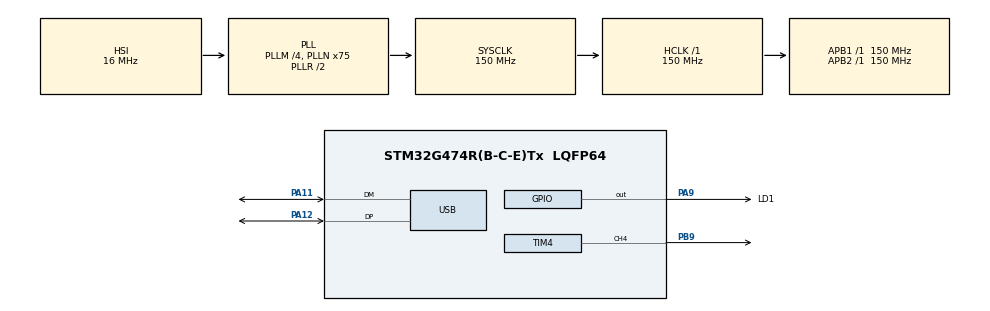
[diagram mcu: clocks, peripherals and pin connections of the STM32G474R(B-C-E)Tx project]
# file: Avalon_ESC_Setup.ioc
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Mcu.Family=STM32G4
Mcu.Name=STM32G474R(B-C-E)Tx
Mcu.Package=LQFP64
NVIC.PriorityGroup=NVIC_PRIORITYGROUP_4
PA11.Mode=Device
PA11.Signal=USB_DM
PA12.Mode=Device
PA12.Signal=USB_DP
PA9.GPIO_Label=LD1
PA9.Signal=GPIO_Output
PB9.Signal=S_TIM4_CH4
ProjectManager.HeapSize=0x200
ProjectManager.StackSize=0x400
ProjectManager.TargetToolchain=STM32CubeIDE
RCC.ADC12Freq_Value=150000000
RCC.ADC345Freq_Value=150000000
RCC.AHBFreq_Value=150000000
RCC.APB1Freq_Value=150000000
RCC.APB1TimFreq_Value=150000000
RCC.APB2Freq_Value=150000000
RCC.APB2TimFreq_Value=150000000
RCC.CK48CLockSelection=RCC_USBCLKSOURCE_HSI48
RCC.CortexFreq_Value=150000000
RCC.EXTERNAL_CLOCK_VALUE=12288000
RCC.HCLKFreq_Value=150000000
RCC.HSE_VALUE=8000000
RCC.HSI48_VALUE=48000000
RCC.HSI_VALUE=16000000
RCC.LSE_VALUE=32768
RCC.PLLM=RCC_PLLM_DIV4
RCC.PLLN=75
RCC.SYSCLKFreq_VALUE=150000000
RCC.SYSCLKSource=RCC_SYSCLKSOURCE_PLLCLK
RCC.USBFreq_Value=48000000
RCC.VCOOutputFreq_Value=300000000
SH.S_TIM4_CH4.0=TIM4_CH4,PWM Generation4 CH4
TIM4.Channel-PWM\ Generation4\ CH4=TIM_CHANNEL_4
TIM4.PeriodNoDither=60000
TIM4.Prescaler=50
TIM4.PulseNoDither_4=6000
board=custom

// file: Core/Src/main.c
/* USER CODE BEGIN Header */
/**
  ******************************************************************************
  * @file           : main.c
  * @brief          : Main program body
  ******************************************************************************
  * @attention
  *
  * Copyright (c) 2023 STMicroelectronics.
  * All rights reserved.
  *
  * This software is licensed under terms that can be found in the LICENSE file
  * in the root directory of this software component.
  * If no LICENSE file comes with this software, it is provided AS-IS.
  *
  ******************************************************************************
  */
/* USER CODE END Header */
#include "main.h"

TIM_HandleTypeDef htim4;

PCD_HandleTypeDef hpcd_USB_FS;

void SystemClock_Config(void);
static void MX_GPIO_Init(void);
static void MX_TIM4_Init(void);
static void MX_USB_PCD_Init(void);

int main(void)
{

  /* MCU Configuration--------------------------------------------------------*/

  /* Reset of all peripherals, Initializes the Flash interface and the Systick. */
  HAL_Init();

  /* Configure the system clock */
  SystemClock_Config();

  /* Initialize all configured peripherals */
  MX_GPIO_Init();
  MX_TIM4_Init();
  MX_USB_PCD_Init();
  /* USER CODE BEGIN 2 */
#ifdef ESC_PROGRAMMING_MODE_ENABLE
  htim4.Instance->CCR4 = ESC_THROTTLE_RANGE_MAX;
  HAL_TIM_PWM_Start(&htim4, TIMER_CHANNEL);
  HAL_Delay(7000);
  /*PROGRAMMING MODE ENTERED*/
  HAL_Delay(4000);
  htim4.Instance->CCR4 = ESC_THROTTLE_RANGE_MIN;

  /*BRAKE SETUP MODE ENTERED*/
  if(ESC_SETTINGS_BRAKE == ESC_BRAKE_ENABLE){
	  HAL_Delay(5000);
  }
  else{
	  HAL_Delay(2000);
  }
  htim4.Instance->CCR4 = ESC_THROTTLE_RANGE_MAX;
  HAL_Delay(7500);
  /*EXIT BRAKE SETUP*/
  /*ENTER BATTERY TYPE SETUP*/
  htim4.Instance->CCR4 = ESC_THROTTLE_RANGE_MIN;
  if(ESC_SETTINGS_BATTERY == ESC_BATTERY_NIMH){
	  HAL_Delay(5000);
  }
  else{
	  HAL_Delay(2000);
  }
  htim4.Instance->CCR4 = ESC_THROTTLE_RANGE_MAX;
  HAL_Delay(7500);
  /*EXIT BATTERY TYPE SETUP*/
  /*ENTER CUTOFF MODE SETUP*/
  htim4.Instance->CCR4 = ESC_THROTTLE_RANGE_MIN;
  if(ESC_SETTINGS_CUTOFF_MODE == ESC_HARD_CUTOFF){
	  HAL_Delay(5000);
  }
  else{
	  HAL_Delay(2000);
  }
  htim4.Instance->CCR4 = ESC_THROTTLE_RANGE_MAX;
  HAL_Delay(1500);
  /*EXIE SETUP MODE*/
  htim4.Instance->CCR4 = ESC_THROTTLE_RANGE_MIN;
  HAL_GPIO_TogglePin(LD1_GPIO_Port, LD1_Pin);

  /*GO BACK TO PROGRAMMING MODE*/

#endif
#ifndef ESC_PROGRAMMING_MODE_ENABLE
  HAL_TIM_PWM_Start(&htim4, TIMER_CHANNEL);
  HAL_Delay(3000);
  htim4.Instance->CCR4 = ESC_THROTTLE_RANGE_MIN;
  HAL_Delay(3000);
  htim4.Instance->CCR4 = 6000;
#endif
  /* USER CODE END 2 */

  /* Infinite loop */
  while (1)
  {

    /* USER CODE BEGIN 3 */
#ifdef ESC_TEST_ENABLE
	  for(int i=ESC_THROTTLE_RANGE_MIN;i<=ESC_THROTTLE_RANGE_MAX;i+=100){
		  htim4.Instance->CCR4 = i;
		  HAL_GPIO_TogglePin(LD1_GPIO_Port, LD1_Pin);
		  HAL_Delay(3000);
	  }
#endif
#ifndef ESC_TEST_ENABLE
	  HAL_GPIO_TogglePin(LD1_GPIO_Port, LD1_Pin);
	  HAL_Delay(1000);
#endif
  }
  /* USER CODE END 3 */
}

void SystemClock_Config(void)
{
  RCC_OscInitTypeDef RCC_OscInitStruct = {0};
  RCC_ClkInitTypeDef RCC_ClkInitStruct = {0};

  /** Configure the main internal regulator output voltage
  */
  HAL_PWREx_ControlVoltageScaling(PWR_REGULATOR_VOLTAGE_SCALE1);

  /** Initializes the RCC Oscillators according to the specified parameters
  * in the RCC_OscInitTypeDef structure.
  */
  RCC_OscInitStruct.OscillatorType = RCC_OSCILLATORTYPE_HSI|RCC_OSCILLATORTYPE_HSI48;
  RCC_OscInitStruct.HSIState = RCC_HSI_ON;
  RCC_OscInitStruct.HSICalibrationValue = RCC_HSICALIBRATION_DEFAULT;
  RCC_OscInitStruct.HSI48State = RCC_HSI48_ON;
  RCC_OscInitStruct.PLL.PLLState = RCC_PLL_ON;
  RCC_OscInitStruct.PLL.PLLSource = RCC_PLLSOURCE_HSI;
  RCC_OscInitStruct.PLL.PLLM = RCC_PLLM_DIV4;
  RCC_OscInitStruct.PLL.PLLN = 75;
  RCC_OscInitStruct.PLL.PLLP = RCC_PLLP_DIV2;
  RCC_OscInitStruct.PLL.PLLQ = RCC_PLLQ_DIV2;
  RCC_OscInitStruct.PLL.PLLR = RCC_PLLR_DIV2;
  if (HAL_RCC_OscConfig(&RCC_OscInitStruct) != HAL_OK)
  {
    Error_Handler();
  }

  /** Initializes the CPU, AHB and APB buses clocks
  */
  RCC_ClkInitStruct.ClockType = RCC_CLOCKTYPE_HCLK|RCC_CLOCKTYPE_SYSCLK
                              |RCC_CLOCKTYPE_PCLK1|RCC_CLOCKTYPE_PCLK2;
  RCC_ClkInitStruct.SYSCLKSource = RCC_SYSCLKSOURCE_PLLCLK;
  RCC_ClkInitStruct.AHBCLKDivider = RCC_SYSCLK_DIV1;
  RCC_ClkInitStruct.APB1CLKDivider = RCC_HCLK_DIV1;
  RCC_ClkInitStruct.APB2CLKDivider = RCC_HCLK_DIV1;

  if (HAL_RCC_ClockConfig(&RCC_ClkInitStruct, FLASH_LATENCY_4) != HAL_OK)
  {
    Error_Handler();
  }
}

static void MX_TIM4_Init(void)
{

  TIM_MasterConfigTypeDef sMasterConfig = {0};
  TIM_OC_InitTypeDef sConfigOC = {0};

  htim4.Instance = TIM4;
  htim4.Init.Prescaler = 50;
  htim4.Init.CounterMode = TIM_COUNTERMODE_UP;
  htim4.Init.Period = 60000;
  htim4.Init.ClockDivision = TIM_CLOCKDIVISION_DIV1;
  htim4.Init.AutoReloadPreload = TIM_AUTORELOAD_PRELOAD_DISABLE;
  if (HAL_TIM_PWM_Init(&htim4) != HAL_OK)
  {
    Error_Handler();
  }
  sMasterConfig.MasterOutputTrigger = TIM_TRGO_RESET;
  sMasterConfig.MasterSlaveMode = TIM_MASTERSLAVEMODE_DISABLE;
  if (HAL_TIMEx_MasterConfigSynchronization(&htim4, &sMasterConfig) != HAL_OK)
  {
    Error_Handler();
  }
  sConfigOC.OCMode = TIM_OCMODE_PWM1;
  sConfigOC.Pulse = 6000;
  sConfigOC.OCPolarity = TIM_OCPOLARITY_HIGH;
  sConfigOC.OCFastMode = TIM_OCFAST_DISABLE;
  if (HAL_TIM_PWM_ConfigChannel(&htim4, &sConfigOC, TIM_CHANNEL_4) != HAL_OK)
  {
    Error_Handler();
  }
  HAL_TIM_MspPostInit(&htim4);

}

static void MX_USB_PCD_Init(void)
{

  hpcd_USB_FS.Instance = USB;
  hpcd_USB_FS.Init.dev_endpoints = 8;
  hpcd_USB_FS.Init.speed = PCD_SPEED_FULL;
  hpcd_USB_FS.Init.phy_itface = PCD_PHY_EMBEDDED;
  hpcd_USB_FS.Init.Sof_enable = DISABLE;
  hpcd_USB_FS.Init.low_power_enable = DISABLE;
  hpcd_USB_FS.Init.lpm_enable = DISABLE;
  hpcd_USB_FS.Init.battery_charging_enable = DISABLE;
  if (HAL_PCD_Init(&hpcd_USB_FS) != HAL_OK)
  {
    Error_Handler();
  }

}

static void MX_GPIO_Init(void)
{
  GPIO_InitTypeDef GPIO_InitStruct = {0};

  /* GPIO Ports Clock Enable */
  __HAL_RCC_GPIOA_CLK_ENABLE();
  __HAL_RCC_GPIOB_CLK_ENABLE();

  /*Configure GPIO pin Output Level */
  HAL_GPIO_WritePin(LD1_GPIO_Port, LD1_Pin, GPIO_PIN_RESET);

  /*Configure GPIO pin : LD1_Pin */
  GPIO_InitStruct.Pin = LD1_Pin;
  GPIO_InitStruct.Mode = GPIO_MODE_OUTPUT_PP;
  GPIO_InitStruct.Pull = GPIO_NOPULL;
  GPIO_InitStruct.Speed = GPIO_SPEED_FREQ_LOW;
  HAL_GPIO_Init(LD1_GPIO_Port, &GPIO_InitStruct);

}

void Error_Handler(void)
{
  __disable_irq();
  while (1)
  {
  }
}
